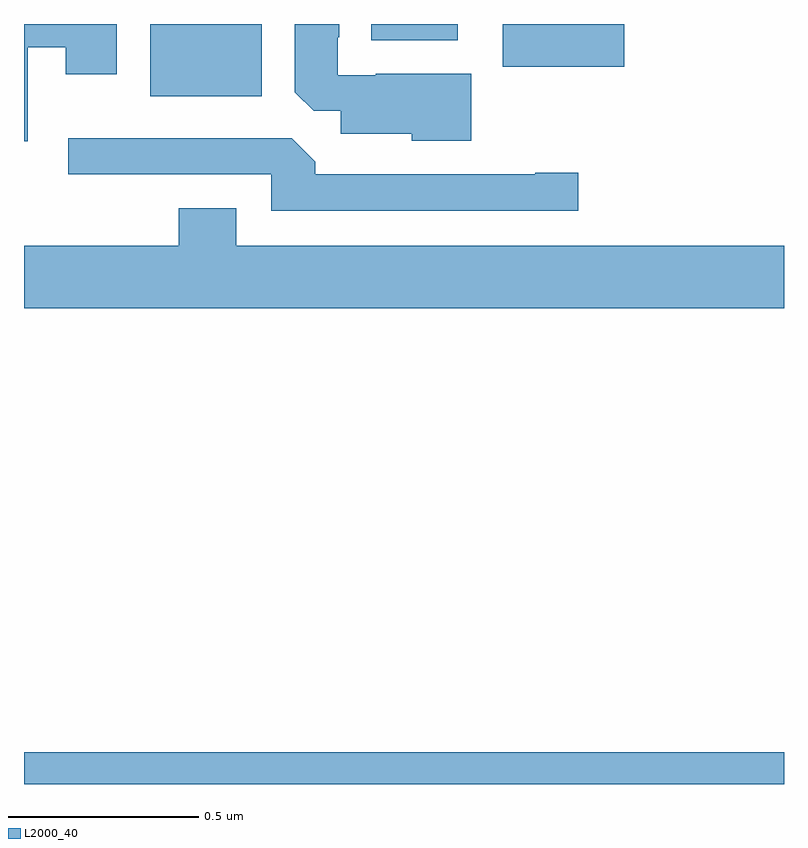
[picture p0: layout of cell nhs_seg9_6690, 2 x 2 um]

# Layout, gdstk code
import gdstk
lib = gdstk.Library(unit=1e-6, precision=1e-09)
def R(c, l, rs):  # rectangles x0, y0, x1, y1
    for r in rs: c.add(gdstk.rectangle(r[:2], r[2:], *l))
def P(c, l, *ps):  # polygons
    for p in ps: c.add(gdstk.Polygon(p, *l))
L2000_40 = (2000, 40)

nhs_seg9_6690 = lib.new_cell('nhs_seg9_6690')
R(nhs_seg9_6690, L2000_40, [(195,1196.5,197,1196.584), (195.332,1198.31,195.625,1198.5), (196.26,1198.388,196.58,1198.5), (195.914,1198.457,196.141,1198.5)])
P(nhs_seg9_6690, L2000_40, [(195.01,1198.439),(195.11,1198.439),(195.11,1198.368),(195.244,1198.368),(195.244,1198.5),(195,1198.5),(195,1198.191),(195.01,1198.191)],
  [(196.177,1198.369),(195.925,1198.369),(195.925,1198.365),(195.825,1198.365),(195.825,1198.465),(195.829,1198.465),(195.829,1198.5),(195.713,1198.5),(195.713,1198.321),(195.762,1198.272),(195.833,1198.272),(195.833,1198.211),(196.02,1198.211),(196.02,1198.193),(196.177,1198.193)],
  [(196.459,1198.109),(196.346,1198.109),(196.346,1198.104),(195.767,1198.104),(195.767,1198.138),(195.705,1198.2),(195.117,1198.2),(195.117,1198.104),(195.651,1198.104),(195.651,1198.008),(196.459,1198.008)],
  [(197,1197.916),(195.559,1197.916),(195.559,1198.015),(195.407,1198.015),(195.407,1197.916),(195,1197.916),(195,1197.752),(197,1197.752)])

lib.write_gds('nhs_seg9_6690.gds')
